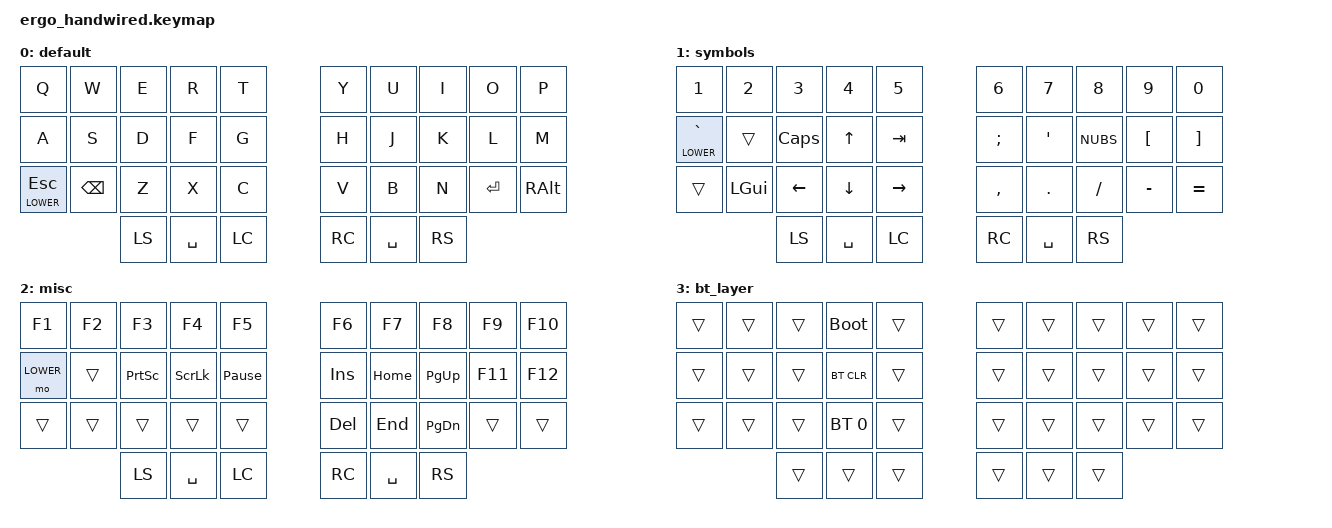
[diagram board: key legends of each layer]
#include <behaviors.dtsi>
#include <dt-bindings/zmk/keys.h>
#include <dt-bindings/zmk/bt.h>

/ {  
    keymap {
        compatible = "zmk,keymap";
        #define default 0
        #define symbols 1
        #define misc 2

        default {
            bindings = <
                &kp Q  &kp W  &kp E  &kp R  &kp T  &kp Y  &kp U  &kp I  &kp O  &kp P
                &kp A  &kp S  &kp D  &kp F  &kp G  &kp H  &kp J  &kp K  &kp L  &kp M
                &lt LOWER ESC  &kp BSPC  &kp Z  &kp X  &kp C  &kp V  &kp B  &kp N  &kp RET  &kp RALT
                
                            &kp LS   &kp SPACE   &kp LC  &kp RC  &kp SPACE   &kp RS  
            >;
        }; 

        symbols {
            bindings = <
                &kp N1  &kp N2  &kp N3  &kp N4  &kp N5  &kp N6  &kp N7  &kp N8  &kp N9  &kp N0
                &lt LOWER GRAVE  &trans   &kp CLCK  &kp UP  &kp TAB  &kp SEMI  &kp SQT  &kp NUBS  &kp LBKT  &kp RBKT
                &trans  &kp LGUI  &kp LEFT  &kp DOWN   &kp RIGHT  &kp COMMA  &kp DOT  &kp FSLH  &kp MINUS  &kp EQUAL
                
                           &kp LS   &kp SPACE   &kp LC  &kp RC  &kp SPACE   &kp RS  
            >;
        }; 
        misc {
            bindings = <
                &kp F1   &kp F2   &kp F3   &kp F4   &kp F5   &kp F6  &kp F7   &kp F8   &kp F9   &kp F10
                &mo LOWER   &trans   &kp PSCRN   &kp SLCK  &kp PAUSE_BREAK  &kp INS   &kp HOME  &kp PG_UP  &kp F11   &kp F12
                &trans  &trans   &trans   &trans   &trans  &kp DEL  &kp END  &kp PG_DN  &trans   &trans
                
                           &kp LS   &kp SPACE   &kp LC  &kp RC  &kp SPACE   &kp RS  
            >;
        }; 
        
        bt_layer {
            bindings = <
                &trans     &trans     &trans     &bootloader  &trans     &trans     &trans  &trans     &trans     &trans
                &trans     &trans     &trans     &bt BT_CLR    &trans     &trans     &trans  &trans     &trans     &trans
                &trans     &trans     &trans     &bt BT_SEL 0  &trans     &trans     &trans  &trans     &trans     &trans
                                      &trans     &trans    &trans     &trans      &trans     &trans
            >;
        };
    };
};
